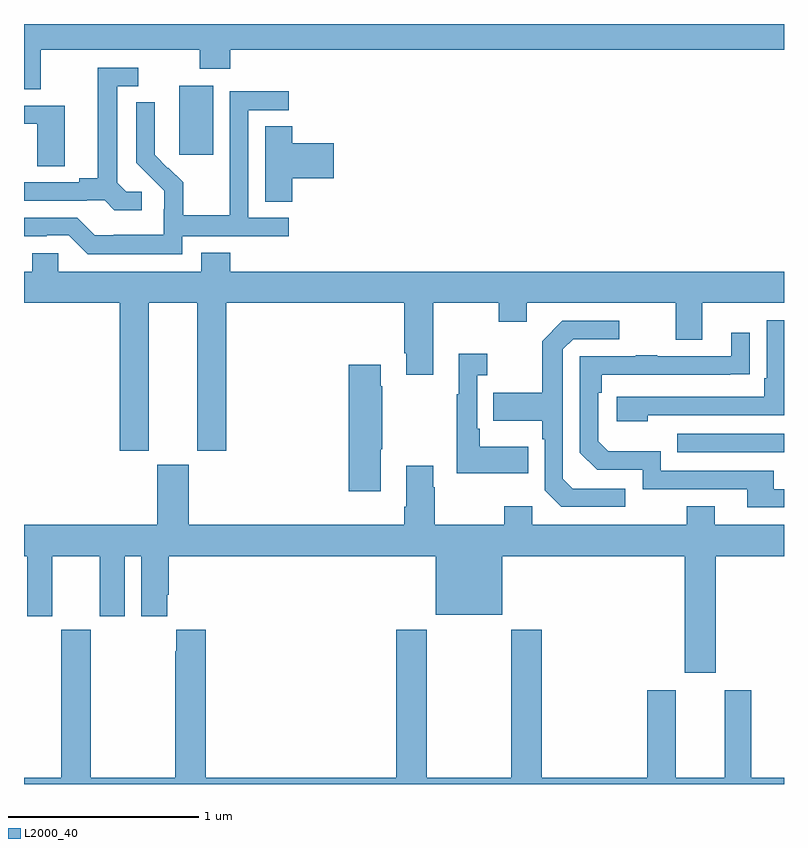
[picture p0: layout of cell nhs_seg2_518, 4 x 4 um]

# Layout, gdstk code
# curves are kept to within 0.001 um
import gdstk
lib = gdstk.Library(unit=1e-6, precision=1e-09)
def R(c, l, rs):  # rectangles x0, y0, x1, y1
    for r in rs: c.add(gdstk.rectangle(r[:2], r[2:], *l))
def P(c, l, *ps):  # polygons
    for p in ps: c.add(gdstk.Polygon(p, *l))
L2000_40 = (2000, 40)

nhs_seg2_518 = lib.new_cell('nhs_seg2_518')
R(nhs_seg2_518, L2000_40, [(140.437,617.547,141,617.643), (137.816,619.113,137.995,619.474)])
P(nhs_seg2_518, L2000_40, [(137.089,619.664),(137.926,619.664),(137.926,619.565),(138.086,619.565),(138.086,619.664),(141,619.664),(141,619.8),(137,619.8),(137,619.456),(137.089,619.456)],
  [(137.62,618.918),(137.538,618.918),(137.491,618.965),(137.491,619.473),(137.602,619.473),(137.602,619.569),(137.387,619.569),(137.387,618.989),(137.291,618.989),(137.291,618.966),(137,618.966),(137,618.87),(137.33,618.87),(137.33,618.873),(137.424,618.873),(137.476,618.821),(137.62,618.821)],
  [(137.832,618.684),(138.394,618.684),(138.394,618.78),(138.18,618.78),(138.18,619.347),(138.394,619.347),(138.394,619.446),(138.084,619.446),(138.084,619.016),(138.082,619.016),(138.082,618.793),(137.837,618.793),(137.837,618.967),(137.76,619.044),(137.757,619.041),(137.687,619.112),(137.688,619.388),(137.592,619.388),(137.592,619.07),(137.738,618.922),(137.738,618.825),(137.736,618.825),(137.736,618.691),(137.473,618.691),(137.473,618.687),(137.373,618.687),(137.28,618.78),(137,618.78),(137,618.683),(137.12,618.684),(137.12,618.687),(137.235,618.687),(137.335,618.587),(137.832,618.587)],
  [(137.215,619.371),(137,619.371),(137,619.275),(137.07,619.275),(137.07,619.051),(137.215,619.051)],
  [(138.413,618.989),(138.631,618.989),(138.631,619.172),(138.413,619.172),(138.413,619.262),(138.269,619.262),(138.269,618.865),(138.413,618.865)],
  [(137.656,618.332),(137.912,618.332),(137.912,617.553),(138.065,617.553),(138.065,618.332),(139.001,618.332),(139.001,618.067),(139.013,618.067),(139.013,617.955),(139.153,617.955),(139.153,618.332),(139.498,618.332),(139.498,618.233),(139.645,618.233),(139.645,618.332),(140.429,618.332),(140.429,618.138),(140.569,618.138),(140.569,618.332),(141,618.332),(141,618.496),(138.086,618.496),(138.086,618.595),(137.933,618.595),(137.933,618.496),(137.181,618.496),(137.181,618.594),(137.043,618.594),(137.043,618.496),(137,618.496),(137,618.332),(137.504,618.332),(137.504,617.553),(137.656,617.553)],
  [(140.282,617.742),(141,617.742),(141,618.24),(140.91,618.24),(140.91,617.935),(140.897,617.935),(140.897,617.838),(140.121,617.838),(140.121,617.708),(140.282,617.708)],
  [(140.164,617.355),(139.887,617.355),(139.836,617.406),(139.836,618.087),(139.89,618.141),(140.134,618.141),(140.134,618.237),(139.833,618.237),(139.728,618.131),(139.728,617.859),(139.471,617.859),(139.471,617.711),(139.728,617.711),(139.728,617.615),(139.74,617.615),(139.74,617.346),(139.827,617.259),(140.164,617.259)],
  [(141,617.352),(140.947,617.352),(140.947,617.448),(140.352,617.448),(140.352,617.551),(140.075,617.551),(140.022,617.604),(140.022,617.858),(140.042,617.858),(140.042,617.955),(140.819,617.956),(140.819,618.175),(140.723,618.175),(140.723,618.051),(140.333,618.051),(140.333,618.056),(140.221,618.056),(140.221,618.051),(139.926,618.051),(139.926,617.544),(140.016,617.454),(140.256,617.454),(140.256,617.352),(140.807,617.352),(140.807,617.256),(141,617.256)],
  [(139.655,617.575),(139.399,617.575),(139.399,617.671),(139.386,617.671),(139.386,617.951),(139.438,617.951),(139.438,618.064),(139.289,618.064),(139.289,617.851),(139.278,617.851),(139.278,617.435),(139.655,617.435)],
  [(138.877,617.563),(138.885,617.563),(138.885,617.894),(138.877,617.894),(138.877,618.007),(138.71,618.007),(138.71,617.34),(138.877,617.34)],
  [(140.641,617),(141,617),(141,617.164),(140.635,617.164),(140.635,617.263),(140.488,617.263),(140.488,617.164),(139.674,617.164),(139.674,617.263),(139.528,617.263),(139.528,617.164),(139.161,617.164),(139.161,617.363),(139.153,617.363),(139.153,617.476),(139.013,617.476),(139.013,617.26),(139.001,617.26),(139.001,617.164),(137.866,617.164),(137.866,617.481),(137.702,617.481),(137.702,617.164),(137,617.164),(137,617),(137.018,617),(137.018,616.683),(137.149,616.683),(137.149,617),(137.399,617),(137.399,616.683),(137.53,616.683),(137.53,617),(137.618,617),(137.618,616.683),(137.755,616.683),(137.755,616.795),(137.762,616.795),(137.762,617),(139.166,617),(139.166,616.691),(139.516,616.691),(139.516,617),(140.477,617),(140.477,616.386),(140.641,616.386)],
  [(141,615.832),(140.827,615.832),(140.827,616.294),(140.687,616.294),(140.687,615.832),(140.431,615.832),(140.431,616.294),(140.279,616.294),(140.279,615.832),(139.724,615.832),(139.724,616.612),(139.564,616.612),(139.564,615.832),(139.119,615.832),(139.119,616.612),(138.959,616.612),(138.959,615.832),(137.957,615.832),(137.957,616.612),(137.801,616.612),(137.801,616.499),(137.797,616.499),(137.797,615.832),(137.352,615.832),(137.352,616.612),(137.197,616.612),(137.197,615.832),(137,615.832),(137,615.8),(141,615.8)])

lib.write_gds('nhs_seg2_518.gds')
